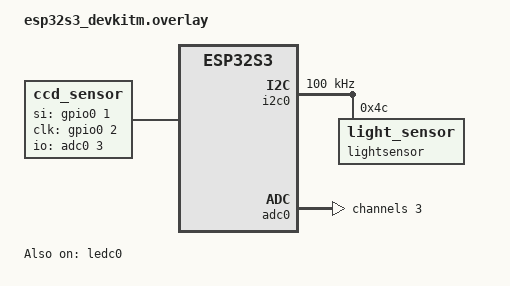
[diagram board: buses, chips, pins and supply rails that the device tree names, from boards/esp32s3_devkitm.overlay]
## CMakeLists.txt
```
# SPDX-License-Identifier: Apache-2.0

cmake_minimum_required(VERSION 3.20.0)

set(CONF_FILE prj.conf)
set(BOARD rpi_pico)
find_package(Zephyr REQUIRED HINTS $ENV{ZEPHYR_BASE})
project(minimal)
MESSAGE(“$ENV{CMAKE_CXXFLAGS}”)
target_sources(app PRIVATE src/main.cpp src/MiniPID.cpp src/Motor.cpp src/Light_sensor.cpp src/CCD_sensor.cpp)
```

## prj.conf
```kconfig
CONFIG_UART_LINE_CTRL=y

CONFIG_GPIO=y
CONFIG_PWM=y
CONFIG_I2C=y
CONFIG_ADC=y
CONFIG_CONSOLE=y
CONFIG_UART_CONSOLE=y
CONFIG_RING_BUFFER=y

CONFIG_CPP=y
CONFIG_REQUIRES_FULL_LIBCPP=y
CONFIG_STD_CPP17=y
CONFIG_CPP_MAIN=y

CONFIG_LOG=y
CONFIG_LOG_MODE_IMMEDIATE=y
CONFIG_LOG_BACKEND_UART=y

# CONFIG_SHELL=y
```

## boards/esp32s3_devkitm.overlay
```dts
#include <zephyr/dt-bindings/pwm/pwm.h>

/ {
    aliases{
        lightsensor = &lightsensor;
    };
    motor_drivers {
        status = "okay";
        motor_0 {
            status = "okay";
            compatible = "encode_motor";
            pwms = <&ledc0 0 50000 PWM_POLARITY_NORMAL>, <&ledc0 1 50000 PWM_POLARITY_NORMAL>;
            pwm-names = "port_0", "port_1";
            gpios = <&gpio0 14 GPIO_ACTIVE_HIGH>, <&gpio0 13 GPIO_ACTIVE_HIGH>;
            label = "motor_0";
        };
        motor_1 {
            status = "okay";
            compatible = "encode_motor";
            pwms = <&ledc0 2 50000 PWM_POLARITY_NORMAL>, <&ledc0 3 50000 PWM_POLARITY_NORMAL>;
            pwm-names = "port_0", "port_1";
            gpios = <&gpio0 11 GPIO_ACTIVE_HIGH>, <&gpio0 12 GPIO_ACTIVE_HIGH>;
            label = "motor_1";
        };
        motor_2 {
            status = "okay";
            compatible = "encode_motor";
            pwms = <&ledc0 4 50000 PWM_POLARITY_NORMAL>, <&ledc0 5 50000 PWM_POLARITY_NORMAL>;
            pwm-names = "port_0", "port_1";
            gpios = <&gpio1 9 GPIO_ACTIVE_HIGH>, <&gpio1 10 GPIO_ACTIVE_HIGH>;
            label = "motor_2";
        };
        motor_3 {
            status = "okay";
            compatible = "encode_motor";
            pwms = <&ledc0 6 50000 PWM_POLARITY_NORMAL>,<&ledc0 7 50000 PWM_POLARITY_NORMAL>;
            pwm-names = "port_0", "port_1";
            gpios = <&gpio1 6 GPIO_ACTIVE_HIGH>, <&gpio1 5 GPIO_ACTIVE_HIGH>;
            label = "motor_3";
        };
    };
    ccd_sensor {
        status = "okay";
        compatible = "ccd_sensor";
        label = "ccd_sensor";
        io-channels = <&adc0 3>;
        si-gpios = <&gpio0 1 GPIO_ACTIVE_HIGH>;
        clk-gpios = <&gpio0 2 GPIO_ACTIVE_HIGH>;
    };
};

&ledc0 {
    status = "okay";
    compatible = "espressif,esp32-ledc";
    pinctrl-0 = <&pwm_motors>;
    pinctrl-names = "default";
    #pwm-cells = <3>;
    #address-cells = <1>;
    #size-cells = <0>;
    channel0@0 {
        reg = <0>;
        timer = <0>;
    };
    channel1@1 {
        reg = <1>;
        timer = <0>;
    };
    channel2@2 {
        reg = <2>;
        timer = <0>;
    };
    channel3@3 {
        reg = <3>;
        timer = <0>;
    };
    channel4@4 {
        reg = <4>;
        timer = <0>;
    };
    channel5@5 {
        reg = <5>;
        timer = <0>;
    };
    channel6@6 {
        reg = <6>;
        timer = <0>;
    };
    channel7@7 {
        reg = <7>;
        timer = <0>;
    };
};

&i2c0 {
    status = "okay";
    pinctrl-0 = <&i2c_sensor>;
    pinctrl-names = "default";
    clock-frequency = <I2C_BITRATE_STANDARD>;
    lightsensor: lightsensor@4c {
            compatible = "light_sensor";
            reg=<0x4c>;
            label="lightsensor";
            status="okay";
    };
};

&pinctrl {
    pwm_motors: pwm_motors{
        group1 {
            pinmux = <LEDC_CH0_GPIO17>,
                    <LEDC_CH1_GPIO18>,
                    <LEDC_CH2_GPIO10>,
                    <LEDC_CH3_GPIO9>,
                    <LEDC_CH4_GPIO48>,
                    <LEDC_CH5_GPIO47>,
                    <LEDC_CH6_GPIO35>,
                    <LEDC_CH7_GPIO36>;
            output-enable;
        };
    };
    i2c_sensor: i2c_sensor{
        group1 {
            pinmux = <I2C0_SCL_GPIO5>,
                     <I2C0_SDA_GPIO6>;
            output-enable;
            bias-pull-up;
        };
    };
};

&adc0 {
    status = "okay";
    #address-cells = <1>;
    #size-cells = <0>;

    channel@3 {
        reg = <3>;
        zephyr,gain = "ADC_GAIN_1_4";
        zephyr,reference = "ADC_REF_INTERNAL";
        zephyr,acquisition-time = <ADC_ACQ_TIME_DEFAULT>;
        zephyr,resolution = <12>;
        // zephyr,oversampling = <>;
        zephyr,vref-mv = <1100>;
    };
};

&adc1 {
    status = "disabled";
};

&spi2 {
    status = "disabled";
};

&spi3 {
    status = "disabled";
};
```

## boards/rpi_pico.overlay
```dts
#include <zephyr/dt-bindings/pinctrl/rpi-pico-rp2040-pinctrl.h>

&zephyr_udc0 {
	cdc_acm_uart0: cdc_acm_uart0 {
		compatible = "zephyr,cdc-acm-uart";
	};
};

/ {
	chosen {
		zephyr,console = &cdc_acm_uart0;
        zephyr,shell-uart = &cdc_acm_uart0;
	};
	aliases{
        lightsensor = &lightsensor;
    };
	motor_drivers {
		status = "okay";
		motor_0 {
			status = "okay";
			compatible = "encode_motor";
			pwms = <&pwm 0 50000 PWM_POLARITY_NORMAL>, <&pwm 1 50000 PWM_POLARITY_NORMAL>;
			pwm-names = "port_0", "port_1";
			gpios = <&gpio0 10 GPIO_ACTIVE_HIGH>, <&gpio0 11 GPIO_ACTIVE_HIGH>;
			label = "motor_0";
		};
		motor_1 {
			status = "okay";
			compatible = "encode_motor";
			pwms = <&pwm 2 50000 PWM_POLARITY_NORMAL>, <&pwm 3 50000 PWM_POLARITY_NORMAL>;
			pwm-names = "port_0", "port_1";
			gpios = <&gpio0 9 GPIO_ACTIVE_HIGH>, <&gpio0 8 GPIO_ACTIVE_HIGH>;
			label = "motor_1";
		};
		motor_2 {
			status = "okay";
			compatible = "encode_motor";
			pwms = <&pwm 4 50000 PWM_POLARITY_NORMAL>, <&pwm 5 50000 PWM_POLARITY_NORMAL>;
			pwm-names = "port_0", "port_1";
			gpios = <&gpio0 14 GPIO_ACTIVE_HIGH>, <&gpio0 15 GPIO_ACTIVE_HIGH>;
			label = "motor_2";
		};
		motor_3 {
			status = "okay";
			compatible = "encode_motor";
			pwms = <&pwm 6 50000 PWM_POLARITY_NORMAL>, <&pwm 7 50000 PWM_POLARITY_NORMAL>;
			pwm-names = "port_0", "port_1";
			gpios = <&gpio0 13 GPIO_ACTIVE_HIGH>, <&gpio0 12 GPIO_ACTIVE_HIGH>;
			label = "motor_3";
		};
	};

    softi2c: softi2c {
        #address-cells=<1>;
        #size-cells=<0>;
        compatible = "gpio-i2c";
        sda-gpios = <&gpio0 18 GPIO_ACTIVE_HIGH>;
        scl-gpios = <&gpio0 19 GPIO_ACTIVE_HIGH>;
        clock-frequency = <100000>;
        status = "okay";
        lightsensor: lightsensor@4c {
            compatible = "light_sensor";
            reg=<0x4c>;
            label="lightsensor";
            status="okay";
        };
    };

	zephyr,user{
		status="okay";
	};
};


&pwm {
	status = "okay";
	pinctrl-0 = <&pwm_motors>;
	pinctrl-names = "default";
};

&i2c0 {
	status = "okay";
	pinctrl-0 = <&i2c_sensor>;
	pinctrl-names = "default";
	clock-frequency = <I2C_BITRATE_STANDARD>;
};


&pinctrl {
	pwm_motors: pwm_motors{
		group1{
			pinmux = <PWM_0A_P0>, <PWM_0B_P1>,
				 <PWM_1A_P2>, <PWM_1B_P3>,
				 <PWM_2A_P4>, <PWM_2B_P5>,
				 <PWM_3A_P6>, <PWM_3B_P7>;
		};
	};
    i2c_sensor: i2c_sensor {
        group1 {
            pinmux = <I2C0_SDA_P20>, <I2C0_SCL_P21>;
            input-enable;
            bias-pull-up;
            slew-rate = <0>;
            input-schmitt-enable;
        };
    };
};
```

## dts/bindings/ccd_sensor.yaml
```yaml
description: ccd_sensor with adcs

compatible: "ccd_sensor"

properties:
  si-gpios:
    type: phandle-array
    required: true
    description: |
      The si channel connected to the ccd sensor.
  clk-gpios:
    type: phandle-array
    required: true
    description: |
      The clk channel connected to the ccd sensor.
  label:
    type: string
    description: |
      A label for the device.
  io-channels:
    type: phandle-array
    required: true
    description: |
      The io channels connected to the ccd sensor analog output.
```

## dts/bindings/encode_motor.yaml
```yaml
description: PWM controlled motor driver

compatible: "encode_motor"

properties:
  pwms:
    type: phandle-array
    required: true
    description: |
      The PWM channels connected to the gate driver for the MOSFET.
  pwm-names:
    type: string-array
    required: true
    description: |
      The names of the PWM channels connected to the gate driver for the MOSFET.
  gpios:
    type: phandle-array
    required: true
    description: |
      The encoder channels connected to the motor.
  label:
    type: string
    description: |
      A label for the motor driver.
```

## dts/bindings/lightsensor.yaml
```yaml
description: Light Sensor On I2C bus

compatible: "light_sensor"

on-bus: i2c

properties:
  reg:
    type: int
    required: true
    description: |
      The I2C address of the light sensor.
  label:
    type: string
    description: |
      A label for the device.
```

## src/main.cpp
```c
#include <stdlib.h>
#include <zephyr/drivers/i2c.h>
#include <zephyr/kernel.h>
#include <zephyr/logging/log.h>
#include <zephyr/sys/ring_buffer.h>

#include "Light_sensor.h"
#include "Motor.h"
#include "MiniPID.h"
#include "CCD_sensor.h"
LOG_MODULE_REGISTER(main, CONFIG_LOG_DEFAULT_LEVEL);
#define I2CSENSOR DT_ALIAS(lightsensor)

extern struct ring_buf sensor_ring_buf;

void controller(void *, void *, void *)
{
    set_speed(0, 0, 0, 0);
    uint8_t analogs_data[8];
    MiniPID follow_pid(20, 0, 0);
    follow_pid.setSetpoint(0);
    follow_pid.setOutputLimits(-2400, 2400);
    while (true)
    {
        if (!ring_buf_is_empty(&sensor_ring_buf))
        {
            uint32_t size = ring_buf_size_get(&sensor_ring_buf) / 8;

            if (size % 8 == 0)
            {
                while (size > 1)
                {
                    ring_buf_get(&sensor_ring_buf, analogs_data, 8);
                    size--;
                }
                ring_buf_get(&sensor_ring_buf, analogs_data, 8);
            }
            else
            {
                ring_buf_reset(&sensor_ring_buf);
            }
        }
        int delta = analogs_data[4] - analogs_data[3];
        LOG_PRINTK("%d,0\n", delta);
        double output = follow_pid.getOutput(delta);
        set_speed(1200 + output, 1200 - output, 1200 + output, 1200 - output);
        k_msleep(10);
    }
}

#define MOTOR_STACK_SIZE 5000
#define MOTOR_PRIORITY -3
K_THREAD_STACK_DEFINE(motor_stack_area, MOTOR_STACK_SIZE);
static k_thread motor_thread_data;

#define SENSOR_STACK_SIZE 15000
#define SENSOR_PRIORITY -1
K_THREAD_STACK_DEFINE(sensor_stack_area, SENSOR_STACK_SIZE);
static k_thread sensor_thread_data;

#define MAIN_STACK_SIZE 5000
#define MAIN_PRIORITY -2
K_THREAD_STACK_DEFINE(main_stack_area, MAIN_STACK_SIZE);
static k_thread main_thread_data;

#define MOTOR0 DT_PATH(motor_drivers, motor_0)
#define MOTOR1 DT_PATH(motor_drivers, motor_1)
#define MOTOR2 DT_PATH(motor_drivers, motor_2)
#define MOTOR3 DT_PATH(motor_drivers, motor_3)

int main(void)
{
    const pwm_dt_spec motor_0_port_0 =
        PWM_DT_SPEC_GET_BY_NAME(MOTOR0, port_0);
    const pwm_dt_spec motor_0_port_1 =
        PWM_DT_SPEC_GET_BY_NAME(MOTOR0, port_1);
    const gpio_dt_spec motor_0_encoder_0 =
        GPIO_DT_SPEC_GET_BY_IDX(MOTOR0, gpios, 0);
    const gpio_dt_spec motor_0_encoder_1 =
        GPIO_DT_SPEC_GET_BY_IDX(MOTOR0, gpios, 1);

    const pwm_dt_spec motor_1_port_0 =
        PWM_DT_SPEC_GET_BY_NAME(MOTOR1, port_0);
    const pwm_dt_spec motor_1_port_1 =
        PWM_DT_SPEC_GET_BY_NAME(MOTOR1, port_1);
    const gpio_dt_spec motor_1_encoder_0 =
        GPIO_DT_SPEC_GET_BY_IDX(MOTOR1, gpios, 0);
    const gpio_dt_spec motor_1_encoder_1 =
        GPIO_DT_SPEC_GET_BY_IDX(MOTOR1, gpios, 1);

    const pwm_dt_spec motor_2_port_0 =
        PWM_DT_SPEC_GET_BY_NAME(MOTOR2, port_0);
    const pwm_dt_spec motor_2_port_1 =
        PWM_DT_SPEC_GET_BY_NAME(MOTOR2, port_1);
    const gpio_dt_spec motor_2_encoder_0 =
        GPIO_DT_SPEC_GET_BY_IDX(MOTOR2, gpios, 0);
    const gpio_dt_spec motor_2_encoder_1 =
        GPIO_DT_SPEC_GET_BY_IDX(MOTOR2, gpios, 1);

    const pwm_dt_spec motor_3_port_0 =
        PWM_DT_SPEC_GET_BY_NAME(MOTOR3, port_0);
    const pwm_dt_spec motor_3_port_1 =
        PWM_DT_SPEC_GET_BY_NAME(MOTOR3, port_1);
    const gpio_dt_spec motor_3_encoder_0 =
        GPIO_DT_SPEC_GET_BY_IDX(MOTOR3, gpios, 0);
    const gpio_dt_spec motor_3_encoder_1 =
        GPIO_DT_SPEC_GET_BY_IDX(MOTOR3, gpios, 1);

    // k_thread_create(&sensor_thread_data, sensor_stack_area,
    //                 K_THREAD_STACK_SIZEOF(sensor_stack_area), sensor_task, NULL,
    //                 NULL, NULL, SENSOR_PRIORITY, 0, K_NO_WAIT);
    // k_thread_create(&motor_thread_data, motor_stack_area,
    //                 K_THREAD_STACK_SIZEOF(motor_stack_area),
    //                 motor_task,
    //                 NULL, NULL, NULL,
    //                 MOTOR_PRIORITY, 0, K_MSEC(10));
    // k_thread_create(&main_thread_data, main_stack_area,
    //                 K_THREAD_STACK_SIZEOF(main_stack_area),
    //                 controller,
    //                 NULL, NULL, NULL,
    //                 MAIN_PRIORITY, 0, K_MSEC(50));
    while (true)
    {
        printk("A encoder : %d, %d; B encoder : %d, %d; C encoder : %d, %d; D encoder : %d, %d\n", gpio_pin_get_dt(&motor_0_encoder_0), gpio_pin_get_dt(&motor_0_encoder_1), gpio_pin_get_dt(&motor_1_encoder_0), gpio_pin_get_dt(&motor_1_encoder_1), gpio_pin_get_dt(&motor_2_encoder_0), gpio_pin_get_dt(&motor_2_encoder_1), gpio_pin_get_dt(&motor_3_encoder_0), gpio_pin_get_dt(&motor_3_encoder_1));
    }
    // Motor motors[4] = {
    //     Motor("motor0", &motor_0_port_0, &motor_0_port_1, &motor_0_encoder_0, &motor_0_encoder_1),
    //     Motor("motor1", &motor_1_port_0, &motor_1_port_1, &motor_1_encoder_0, &motor_1_encoder_1),
    //     Motor("motor2", &motor_2_port_0, &motor_2_port_1, &motor_2_encoder_0, &motor_2_encoder_1),
    //     Motor("motor3", &motor_3_port_0, &motor_3_port_1, &motor_3_encoder_0, &motor_3_encoder_1)};
    // motors[2].speed(20);
    // k_sleep(K_SECONDS(3));
    // motors[2].speed(50);
    // k_sleep(K_SECONDS(3));
    // motors[2].speed(0);
    // motors[3].speed(20);
    // k_sleep(K_SECONDS(3));
    // motors[3].speed(50);
    // k_sleep(K_SECONDS(3));
    // motors[3].speed(0);
    // k_sleep(K_SECONDS(3));
    // while(true){
    //     printk("Motor0 pos: %d, Motor1 pos: %d, Motor2 pos: %d, Motor3 pos: %d\n", motors[0].pos, motors[1].pos, motors[2].pos, motors[3].pos);
    // }
    return 0;
}
```

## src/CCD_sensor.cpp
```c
#include "CCD_sensor.h"
#include <zephyr/kernel.h>
#include <zephyr/logging/log.h>
#include <zephyr/drivers/gpio.h>
#include <zephyr/drivers/adc.h>
#include <zephyr/sys/ring_buffer.h>

#define CCDAO DT_PATH(ccd_sensor)
#define CCD_BUF_BYTES 4
static uint32_t CCD_AO_BUFFER[CCD_BUF_BYTES];
static uint16_t CCD_DATA[129];
LOG_MODULE_REGISTER(CCD, CONFIG_LOG_DEFAULT_LEVEL);

extern void ccd_task(void *, void *, void *){
    const adc_dt_spec ccdao = ADC_DT_SPEC_GET(CCDAO);
    const gpio_dt_spec si_pin = GPIO_DT_SPEC_GET_BY_IDX(CCDAO, si_gpios, 0);
    const gpio_dt_spec clk_pin = GPIO_DT_SPEC_GET_BY_IDX(CCDAO, clk_gpios, 0);
    int ret = adc_channel_setup_dt(&ccdao);
    gpio_pin_configure_dt(&si_pin, GPIO_OUTPUT);
    gpio_pin_configure_dt(&clk_pin, GPIO_OUTPUT);
    if(ret == 0){
        LOG_INF("ADC channel setup success");
    }else{
        LOG_ERR("ADC channel setup failed with code %d", ret);
    }
    LOG_INF("channel_id: %d, oversampling: %d, resulution: %d,acquisition-time: %d ", ccdao.channel_cfg.channel_id, ccdao.oversampling, ccdao.resolution, ccdao.channel_cfg.acquisition_time);
    adc_sequence sequence = {
        .channels = (uint32_t)1<<ccdao.channel_cfg.channel_id,
        .buffer = (void*)CCD_AO_BUFFER,
        .buffer_size = CCD_BUF_BYTES,
        .resolution = ccdao.resolution,
        .oversampling = ccdao.oversampling,
        .calibrate = false,
    };
    gpio_pin_set_dt(&si_pin,1);
    gpio_pin_set_dt(&clk_pin,1);
    gpio_pin_set_dt(&si_pin,0);
    gpio_pin_set_dt(&clk_pin,0);
    for(int i=0;i<128;i++){
        gpio_pin_set_dt(&clk_pin,1);
        gpio_pin_set_dt(&clk_pin,0);
    }
    while(true){
        k_msleep(50);
        gpio_pin_set_dt(&si_pin,1);
        gpio_pin_set_dt(&clk_pin,1);
        gpio_pin_set_dt(&si_pin,0);
        gpio_pin_set_dt(&clk_pin,0);
        for(int i=0;i<128;i++){
            gpio_pin_set_dt(&clk_pin,1);
            k_usleep(2);
            ret = adc_read(ccdao.dev, &sequence);
            gpio_pin_set_dt(&clk_pin,0);
            if(ret==0){
                CCD_DATA[i] = CCD_AO_BUFFER[0];
            }else{
                LOG_ERR("ADC read failed with code %d", ret);
            }
        }
        // print 40-80 data in a line use printk
        for(int i=0;i<128;i++){
            printk("%2d ",(CCD_DATA[i]/64));
        }
        printk("\n");
    }
}

// class CCD_Sensor
// {
// private:
//     const adc_dt_spec* ao_pin;
//     const gpio_dt_spec* clk_pin;
//     const gpio_dt_spec* si_pin;
// public:
//     CCD_Sensor(const adc_channel_cfg *_adc_cfg_dt, const gpio_dt_spec *_clk_pin, const gpio_dt_spec *_si_pin);
//     void init();
// };

// void CCD_Sensor::init()
// {
//     adc_channel_setup(adc_dev, ch0_cfg);
// }
```

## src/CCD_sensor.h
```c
/**
 * @file CCD_sensor.h
 * @author AbbottWu (AbbottDescriber@outlook.com)
 * ~/chinese @brief 线性CCD传感器 tsl1401 驱动
 * @version 0.1
 * @date 2023-07-13
 *
 * @copyright Copyright (c) 2023
 *
 */
#pragma once

void ccd_task(void *, void *, void *);
```

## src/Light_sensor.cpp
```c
#include "Light_sensor.h"
#include <zephyr/logging/log.h>
#include <zephyr/kernel/thread.h>
#include <zephyr/sys/ring_buffer.h>

#define I2CSENSOR DT_ALIAS(lightsensor)
#define LIGHTSENSOR_BUF_BYTES 80
RING_BUF_DECLARE(sensor_ring_buf, LIGHTSENSOR_BUF_BYTES);
LOG_MODULE_REGISTER(sensor, CONFIG_LOG_DEFAULT_LEVEL);

Sensor_Status LightSensor::i2c_ping()
{
    if (i2c_is_ready_dt(lightsensor) == true)
    {
        int rett = i2c_reg_read_byte_dt(lightsensor, 0xAA, &byte_buffer);
        if (rett == 0)
        {
            if (byte_buffer == 0x66)
            {
                return Sensor_OK;
            }
            return Sensor_DATA_ERROR;
        }
        else
        {
            return Sensor_IO_ERR;
        }
    }
    return Sensor_DEVICE_INVALID;
}

Sensor_Status LightSensor::digital_read_to_buffer()
{
    if (i2c_is_ready_dt(lightsensor) == true)
    {
        if (i2c_reg_read_byte_dt(lightsensor, 0xDD, &byte_buffer) == 0)
        {
            return Sensor_OK;
        }
        else
        {
            return Sensor_IO_ERR;
        }
    }
    return Sensor_DEVICE_INVALID;
}

Sensor_Status LightSensor::analogs_read_to_buffer()
{
    if (i2c_is_ready_dt(lightsensor) == true)
    {
        uint32_t size;
        uint32_t proc_size = 8;
        uint8_t *data;

        size = ring_buf_put_claim(&sensor_ring_buf, &data, proc_size);
        if (size != proc_size)
        {
            ring_buf_put_finish(&sensor_ring_buf, 0);
            return Sensor_DATA_ERROR;
        }

        if (i2c_burst_read_dt(lightsensor, 0xB1, data, 8) == 0)
        {
            ring_buf_put_finish(&sensor_ring_buf, 8);
            return Sensor_OK;
        }
        else
        {
            ring_buf_put_finish(&sensor_ring_buf, 0);
            return Sensor_IO_ERR;
        }
    }
    return Sensor_DEVICE_INVALID;
}

// Sensor_Status digital_continous_set(const i2c_dt_spec *i2c, uint8_t *buffer)
// {
//     if (i2c_is_ready_dt(i2c) == true)
//     {
//         buffer[0] = 0xDD;
//         if (i2c_write_dt(i2c, buffer, 1) == 0)
//         {
//             return Sensor_OK;
//         }
//         else
//         {
//             return Sensor_IO_ERR;
//         }
//     }
//     return Sensor_DEVICE_INVALID;
// }

// Sensor_Status digital_continous_read(const i2c_dt_spec *i2c, uint8_t *buffer)
// {
//     if (i2c_is_ready_dt(i2c) == true)
//     {
//         if (i2c_read_dt(i2c, buffer, 1) == 0)
//         {
//             return Sensor_OK;
//         }
//         else
//         {
//             return Sensor_IO_ERR;
//         }
//     }
//     return Sensor_DEVICE_INVALID;
// }

Sensor_Status LightSensor::analogs_continous_set()
{
    if (i2c_is_ready_dt(lightsensor) == true)
    {
        int ret = -5;
        byte_buffer = 0xFF;
        do
        {
            ret = i2c_reg_write_byte_dt(lightsensor, 0xCE, byte_buffer);
            // LOG_INF("ret = %d", ret);
            k_usleep(50);
        } while (ret == -5);
        byte_buffer = 0xB0;
        ret = -5;
        do
        {
            ret = i2c_write_dt(lightsensor, &byte_buffer, 1);
        } while (ret == -5);
        return Sensor_OK;
    }
    return Sensor_DEVICE_INVALID;
}

Sensor_Status LightSensor::analogs_continous_read()
{
    if (i2c_is_ready_dt(lightsensor) == true)
    {
        uint32_t size;
        uint32_t proc_size = 8;
        uint8_t *data;

        size = ring_buf_put_claim(&sensor_ring_buf, &data, proc_size);
        if (size != proc_size)
        {
            ring_buf_put_finish(&sensor_ring_buf, 0);
            return Sensor_DATA_ERROR;
        }

        if (i2c_read_dt(lightsensor, data, 8) == 0)
        {
            int valid = 0;
            for (int i = 0; i < 8; i++)
            {
                if (data[i] != 0xFF)
                {
                    valid = 1;
                    break;
                }
            }
            if (valid == 1)
            {
                ring_buf_put_finish(&sensor_ring_buf, 8);
            }
            else
            {
                ring_buf_put_finish(&sensor_ring_buf, 0);
                return Sensor_DATA_ERROR;
            }
            // check if the data is all 255, which is invalid
            return Sensor_OK;
        }
        else
        {
            ring_buf_put_finish(&sensor_ring_buf, 0);
            return Sensor_IO_ERR;
        }
    }
    return Sensor_DEVICE_INVALID;
}

extern void sensor_task(void *, void *, void *)
{
    const i2c_dt_spec lightsensor = I2C_DT_SPEC_GET(I2CSENSOR);
    LightSensor sensor(&lightsensor);
    // make a ping tile ok
    // int ret = -5;
    // do
    // {
    //     ret = sensor.i2c_ping();
    // } while (ret != Sensor_OK);
    sensor.analogs_continous_set();
    LOG_INF("sensor set analogs ok");
    int failed_times = 0;
    while (true)
    {
        failed_times=0;
        while (true){
            Sensor_Status ret = sensor.analogs_continous_read();
            if (ret != Sensor_OK)
            {
                failed_times++;
                if (failed_times > 500){
                    // sensor.analogs_continous_set();
                    failed_times = 0;
                    k_yield();
                }
            }else{
                break;
                LOG_INF("sensor read analogs ok");
            }
        }
        k_msleep(10);
    }
}




// void sensor_init(void)
// {
//     int ret = -5;
//     do
//     {
//         // k_tid_t timeout_thread_handle = k_thread_create(&timeout_thread_data, timeout_stack_area,
//         //                                           K_THREAD_STACK_SIZEOF(timeout_stack_area),
//         //                                           i2c_ping,
//         //                                           &ret, NULL, NULL,
//         //                                           TIMEOUT_PRIORITY, 0, K_NO_WAIT);
//         // if(k_thread_join(&timeout_thread_data,K_MSEC(15))==-EBUSY){
//         //     k_thread_abort(timeout_thread_handle);
//         //     LOG_ERR("I2C PING TIMEOUT");
//         //     continue;
//         // }
//         i2c_ping(&ret);
//         switch (ret)
//         {
//         case Sensor_OK:
//             LOG_INF("I2C PING OK");
//             break;
//         case Sensor_DEVICE_INVALID:
//             LOG_ERR("I2C DEVICE INVALID");
//             break;
//         case Sensor_IO_ERR:
//             LOG_ERR("I2C IO ERROR");
//             break;
//         case Sensor_DATA_ERROR:
//             LOG_ERR("I2C DATA ERROR");
//             break;
//         }
//     } while (ret != Sensor_OK);
// }
```

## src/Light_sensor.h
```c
/**
 * @file Light_sensor.h
 * @author AbbottWu (AbbottDescriber@outlook.com)
 * \~chinese @brief 感为灰度传感器I2C驱动文件
 * @version 0.1
 * @date 2023-07-13
 *
 * @copyright Copyright (c) 2023
 *
 */
#pragma once
#include <zephyr/kernel.h>
#include <zephyr/drivers/i2c.h>

/**
 * \~chinese @brief 传感器I2C状态
 *
 */
enum Sensor_Status
{
    Sensor_OK,
    Sensor_DEVICE_INVALID,
    Sensor_IO_ERR,
    Sensor_DATA_ERROR
};

/**
 * \~chinese @brief 灰度传感器类
 *
 */
class LightSensor
{
private:
    const i2c_dt_spec *lightsensor;

public:
    /**
     * \~chinese @brief 单字节缓冲区，用于i2c_ping、digital_read_to_buffer、analogs_continous_set
     * 
     */
    uint8_t byte_buffer;
    /**
     * \~chinese @brief 一个用于描述感为8路灰度传感器的类
     *
     * \~chinese @param i2c_sensor 传感器I2C设备树绑定
     */
    LightSensor(const i2c_dt_spec *i2c_sensor) : lightsensor(i2c_sensor){};
    /**
     *\~chinese @brief 灰度传感器状态测试
     *
     * \~chinese @return Sensor_Status 灰度传感器ping状态
     */
    Sensor_Status i2c_ping();
    /**
     * \~chinese @brief 从灰度传感器内部读取8路传感器的数字参量，读取成功则数据被保存到环形缓冲区
     *
     * \~chinese @return Sensor_Status 读取状态
     */
    Sensor_Status digital_read_to_buffer();
    /**
     * \~chinese @brief 从传感器内部读取8个8位模拟量，读取成功则数据被保存到环形缓冲区
     *
     * \~chinese @return Sensor_Status 读取状态
     */
    Sensor_Status analogs_read_to_buffer();
    /**
     * \~chinese @brief 设置传感器连续模拟量读取功能
     *
     * \~chinese @return Sensor_Status 传感器状态
     */
    Sensor_Status analogs_continous_set();
    /**
     * \~chinese @brief 在连续读取功能下读取8个8位模拟量，读取成功则数据被保存到环形缓冲区
     *
     * \~chinese @return Sensor_Status 读取状态
     */
    Sensor_Status analogs_continous_read();
};

/**
 * @brief 灰度传感器线程，在线程初始化过程中绑定设备并启动循环，每10ms尝试读取一次
 *
 */
void sensor_task(void *, void *, void *);
```

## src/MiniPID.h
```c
#ifndef MINIPID_H
#define MINIPID_H

/**
 * \~chinese @brief PID控制算法，对相关注释进行翻译
 * 
 * @see https://github.com/tekdemo/MiniPID
 */
class MiniPID{
public:
	MiniPID(double, double, double);
	MiniPID(double, double, double, double);
	void setP(double);
	void setI(double);
	void setD(double);
	void setF(double);
	void setPID(double, double, double);
	void setPID(double, double, double, double);
	void setMaxIOutput(double);
	void setOutputLimits(double);
	void setOutputLimits(double,double);
	void setDirection(bool);
	void setSetpoint(double);
	void reset();
	void setOutputRampRate(double);
	void setSetpointRange(double);
	void setOutputFilter(double);
	double getOutput();
	double getOutput(double);
	double getOutput(double, double);

private:
	double clamp(double, double, double);
	bool bounded(double, double, double);
	void checkSigns();
	void init();
	double P;
	double I;
	double D;
	double F;

	double maxIOutput;
	double maxError;
	double errorSum;

	double maxOutput; 
	double minOutput;

	double setpoint;

	double lastActual;

	bool firstRun;
	bool reversed;

	double outputRampRate;
	double lastOutput;

	double outputFilter;

	double setpointRange;
};
#endif
```

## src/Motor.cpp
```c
#include "Motor.h"
#include "MiniPID.h"
#include <zephyr/zbus/zbus.h>
#include <zephyr/logging/log.h>
#include <zephyr/kernel/thread.h>
LOG_MODULE_REGISTER(motor, CONFIG_LOG_DEFAULT_LEVEL);

#define MOTOR0 DT_PATH(motor_drivers, motor_0)
#define MOTOR1 DT_PATH(motor_drivers, motor_1)
#define MOTOR2 DT_PATH(motor_drivers, motor_2)
#define MOTOR3 DT_PATH(motor_drivers, motor_3)

ZBUS_CHAN_DEFINE(speed_chan,                         /* Name */
         speed_msg,                                  /* Message type */
         NULL,                                       /* Validator */
         NULL,                                       /* User Data */
         ZBUS_OBSERVERS(speed_sub), /* observers */
         ZBUS_MSG_INIT(.speed0 = 0,.speed1 = 0, .speed2=0,.speed3=0)       /* Initial value */
);
ZBUS_SUBSCRIBER_DEFINE(speed_sub, 4);


Motor::Motor(const char *_name, const pwm_dt_spec *_port_0, const pwm_dt_spec *_port_1, const gpio_dt_spec *_encoder_0, const gpio_dt_spec *_encoder_1)
{
    strcpy(name, _name);
    motor_port_0 = _port_0;
    motor_port_1 = _port_1;
    encoder_0 = _encoder_0;
    encoder_1 = _encoder_1;
    motor_period = _port_0->period;
    gpio_init_callback(&encoder_callbacks[0], encoder0_isr, 1U << encoder_0->pin);
    gpio_init_callback(&encoder_callbacks[1], encoder1_isr, 1U << encoder_1->pin);
    gpio_add_callback_dt(encoder_0, &encoder_callbacks[0]);
    gpio_add_callback_dt(encoder_0, &encoder_callbacks[1]);
    gpio_pin_interrupt_configure_dt(encoder_0, GPIO_INT_EDGE_BOTH);
    gpio_pin_interrupt_configure_dt(encoder_1, GPIO_INT_EDGE_BOTH);
}
void Motor::speed(double duty)
{
    int pulse_width = (int)(duty * motor_period / 100);
    if (duty > 0)
    {
        pwm_set_dt(motor_port_0, motor_period, motor_period - pulse_width);
        pwm_set_dt(motor_port_1, motor_period, motor_period);
    }
    else if (duty < 0)
    {
        pwm_set_dt(motor_port_0, motor_period, motor_period);
        pwm_set_dt(motor_port_1, motor_period, motor_period + pulse_width);
    }
    else
    {
        pwm_set_dt(motor_port_0, motor_period, motor_period);
        pwm_set_dt(motor_port_1, motor_period, motor_period);
    }
}
void Motor::encoder0_isr(const struct device *dev, gpio_callback *cb, gpio_port_pins_t pins)
{
    Motor *instance = CONTAINER_OF(cb, Motor, encoder_callbacks[0]);
    int encoder1_val = gpio_pin_get_dt(instance->encoder_1);
    if (encoder1_val == 1)
    {
        instance->encoder_his[0] = 1;
        if (instance->encoder_his[1] == 1)
        {
            instance->pos -= 1;
        }
        else if (instance->encoder_his[1] == 0)
        {
            instance->pos += 1;
        }
    }
    else if (encoder1_val == 0)
    {
        instance->encoder_his[0] = 0;
        if (instance->encoder_his[1] == 1)
        {
            instance->pos += 1;
        }
        else if (instance->encoder_his[1] == 0)
        {
            instance->pos -= 1;
        }
    }
    // LOG_INF("%s encoder0_isr, POS: %ld", instance->name, instance->pos);
}
void Motor::encoder1_isr(const struct device *dev, gpio_callback *cb, gpio_port_pins_t pins)
{
    Motor *instance = CONTAINER_OF(cb, Motor, encoder_callbacks[1]);
    int encoder0_val = gpio_pin_get_dt(instance->encoder_0);
    if (encoder0_val == 1)
    {
        instance->encoder_his[1] = 1;
        if (instance->encoder_his[0] == 1)
        {
            instance->pos += 1;
        }
        else if (instance->encoder_his[0] == 0)
        {
            instance->pos -= 1;
        }
    }
    else if (encoder0_val == 0)
    {
        instance->encoder_his[1] = 0;
        if (instance->encoder_his[0] == 1)
        {
            instance->pos -= 1;
        }
        else if (instance->encoder_his[0] == 0)
        {
            instance->pos += 1;
        }
    }
}

int disp_pulse = 0;

extern void motor_task(void *, void *, void *)
{
    // 初始化各电机状态PWM驱动及编码器
    const pwm_dt_spec motor_0_port_0 =
        PWM_DT_SPEC_GET_BY_NAME(MOTOR0, port_0);
    const pwm_dt_spec motor_0_port_1 =
        PWM_DT_SPEC_GET_BY_NAME(MOTOR0, port_1);
    const gpio_dt_spec motor_0_encoder_0 =
        GPIO_DT_SPEC_GET_BY_IDX(MOTOR0, gpios, 0);
    const gpio_dt_spec motor_0_encoder_1 =
        GPIO_DT_SPEC_GET_BY_IDX(MOTOR0, gpios, 1);

    const pwm_dt_spec motor_1_port_0 =
        PWM_DT_SPEC_GET_BY_NAME(MOTOR1, port_0);
    const pwm_dt_spec motor_1_port_1 =
        PWM_DT_SPEC_GET_BY_NAME(MOTOR1, port_1);
    const gpio_dt_spec motor_1_encoder_0 =
        GPIO_DT_SPEC_GET_BY_IDX(MOTOR1, gpios, 0);
    const gpio_dt_spec motor_1_encoder_1 =
        GPIO_DT_SPEC_GET_BY_IDX(MOTOR1, gpios, 1);

    const pwm_dt_spec motor_2_port_0 =
        PWM_DT_SPEC_GET_BY_NAME(MOTOR2, port_0);
    const pwm_dt_spec motor_2_port_1 =
        PWM_DT_SPEC_GET_BY_NAME(MOTOR2, port_1);
    const gpio_dt_spec motor_2_encoder_0 =
        GPIO_DT_SPEC_GET_BY_IDX(MOTOR2, gpios, 0);
    const gpio_dt_spec motor_2_encoder_1 =
        GPIO_DT_SPEC_GET_BY_IDX(MOTOR2, gpios, 1);

    const pwm_dt_spec motor_3_port_0 =
        PWM_DT_SPEC_GET_BY_NAME(MOTOR3, port_0);
    const pwm_dt_spec motor_3_port_1 =
        PWM_DT_SPEC_GET_BY_NAME(MOTOR3, port_1);
    const gpio_dt_spec motor_3_encoder_0 =
        GPIO_DT_SPEC_GET_BY_IDX(MOTOR3, gpios, 0);
    const gpio_dt_spec motor_3_encoder_1 =
        GPIO_DT_SPEC_GET_BY_IDX(MOTOR3, gpios, 1);

    // 实例化电机对象
    Motor motors[4] = {
        Motor("motor0", &motor_0_port_0, &motor_0_port_1, &motor_0_encoder_0, &motor_0_encoder_1),
        Motor("motor1", &motor_1_port_0, &motor_1_port_1, &motor_1_encoder_0, &motor_1_encoder_1),
        Motor("motor2", &motor_2_port_0, &motor_2_port_1, &motor_2_encoder_0, &motor_2_encoder_1),
        Motor("motor3", &motor_3_port_0, &motor_3_port_1, &motor_3_encoder_0, &motor_3_encoder_1)};

    // 实例化控制PID对象
    MiniPID pid[4] = {MiniPID(0.0062, 0.001, 0.0001, 100.0 / 20622), MiniPID(0.0062, 0.001, 0.0001, 100.0 / 22738), MiniPID(0.0062, 0.001, 0.0001, 100.0 / 20450), MiniPID(0.0062, 0.001, 0.0001, 100.0 / 21924)};
    // 控制PID输出限幅
    for (int i = 0; i < 4; i++)
    {
        pid[i].setOutputLimits(-100, 100);
    }
    int ms_between_speed_updates = 100; // 两次电机更新间的时间
    int last_pos[4] = {0, 0, 0, 0};     // 上次电机位置
    int pos[4] = {0, 0, 0, 0};          // 本次电机位置
    int target_speed[4] = {0, 0, 0, 0}; // 目标速度
    const struct zbus_channel *chan;
    
    while (true)                        // 主控制循环
    {
        for (int i = 0; i < 4; i++)
        {
            pos[i] = motors[i].pos;     // 从电机对象中读取当前位置
        }
        int ret = zbus_sub_wait(&speed_sub, &chan, K_NO_WAIT);
        if (ret == 0)
        {
            speed_msg data={0};
            if (&speed_chan == chan){
                zbus_chan_read(&speed_chan, &data, K_NO_WAIT);
            }
            // LOG_WRN("New Message Got");
            target_speed[0] = data.speed0;
            target_speed[1] = data.speed1;
            target_speed[2] = data.speed2;
            target_speed[3] = data.speed3;
        }
        int pulse_per_ms[4];
        for (int i = 0; i < 4; i++)
        {
            int delta_pos = pos[i] - last_pos[i];
            last_pos[i] = pos[i];
            int speed = (int)(delta_pos * (1000 / ms_between_speed_updates));
            pulse_per_ms[i] = speed;
            double output = pid[i].getOutput(speed, target_speed[i]);
            motors[i].speed(output);
        }
        if (disp_pulse == 1){
            LOG_PRINTK("<pulse_per_ms>%d:%d,%d,%d,%d</pulse_per_ms>\n", (int)k_uptime_get(),pulse_per_ms[0], pulse_per_ms[1], pulse_per_ms[2], pulse_per_ms[3]);
        }
        // LOG_PRINTK("%d,%d,%d,%d\n", pos[0], pos[1], pos[2], pos[3]);
        k_msleep(ms_between_speed_updates);
    }
}

extern void set_speed(int speed0, int speed1, int speed2, int speed3)
{
    speed_msg msg;
    msg.speed0 = speed0;
    msg.speed1 = speed1;
    msg.speed2 = speed2;
    msg.speed3 = speed3;
    int ret = zbus_chan_pub(&speed_chan, &msg, K_MSEC(100));
    if (ret!=0)
    {
        LOG_ERR("Failed to put message");
    }
}

extern void set_disp_pulse(int disp){
    disp_pulse = disp;
}
```

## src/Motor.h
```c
/**
 * @file Motor.h
 * @author AbbottWu (AbbottDescriber@outlook.com)
 * \~chinese @brief 用于描述内置编码器的减速电机的代码
 * @version 0.1
 * @date 2023-07-13
 *
 * @copyright Copyright (c) 2023
 *
 */
#pragma once
#include <zephyr/drivers/pwm.h>
#include <zephyr/drivers/gpio.h>
#include <zephyr/kernel.h>

/**
 * \~chinese @brief 编码电机类
 *
 */
class Motor
{
private:
    char name[10];
    const pwm_dt_spec *motor_port_0;
    const pwm_dt_spec *motor_port_1;
    const gpio_dt_spec *encoder_0;
    const gpio_dt_spec *encoder_1;
    gpio_callback encoder_callbacks[2];
    int motor_period;
    int encoder_his[2] = {0, 0};
    static void encoder0_isr(const struct device *dev, gpio_callback *cb, gpio_port_pins_t pins);
    static void encoder1_isr(const struct device *dev, gpio_callback *cb, gpio_port_pins_t pins);
    long pos = 0;

public:
    /**
     *  \~chinese @brief 电机角度
     *
     */
    /**
     * \~chinese @brief 电机类的构造函数，绑定电机控制接口（PWM）和电机编码器接口（GPIO）
     *
     * @param _name 电机名称
     * @param _port_0 电机接口0，类型为zephyr的PWM设备树绑定
     * @param _port_1 电机接口1，类型为zephyr的PWM设备树绑定
     * @param _encoder_0 电机编码器0，为zephyr的GPIO设备树绑定
     * @param _encoder_1 电机编码器1，为zephyr的GPIO设备树绑定
     */
    Motor(const char *_name, const pwm_dt_spec *_port_0, const pwm_dt_spec *_port_1, const gpio_dt_spec *_encoder_0, const gpio_dt_spec *_encoder_1);
    /**
     * \~chinese @brief 利用占空比设置电机速度和方向
     *
     * @param duty 电机占空比，0-100，正负代表电机转速
     */
    void speed(double duty);
    friend void motor_task(void *, void *, void *);
};

/**
 * \~chinese @brief 调控电机转速的线程，初始化电机对象，并每10ms一次查阅接收消息队列my_msgq更新速度，如无新速度则保持。
 *
 */
void motor_task(void *, void *, void *);

/**
 * @brief 电机转速设定所用结构体，在消息队列中被传递
 *
 */
struct speed_msg
{
    /**
     * @brief 电机0占空比（正负表方向）
     *
     */
    int speed0;
    /**
     * @brief 电机1占空比（正负表方向）
     *
     */
    int speed1;
    /**
     * @brief 电机2占空比（正负表方向）
     *
     */
    int speed2;
    /**
     * @brief 电机3占空比（正负表方向）
     *
     */
    int speed3;
};

/**
 * \~chinese @brief 通过消息队列my_msgq更新小车四个电机的速度。
 *
 */
void set_speed(int, int, int, int);
void set_disp_pulse(int disp);
```

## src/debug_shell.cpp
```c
#include "Motor.h"
#include <zephyr/kernel.h>
#include <zephyr/shell/shell.h>

static void motor_test_cmd_handler(const struct shell *sh, size_t argc,
                                   char **argv)
{
    ARG_UNUSED(argc);
    ARG_UNUSED(argv);
    ARG_UNUSED(sh);
    set_disp_pulse(1);
    set_speed(0, 0, 0 ,0);
    k_sleep(K_SECONDS(2));
    set_speed(500, 500, 500 ,500);
    k_sleep(K_SECONDS(2));
    set_speed(1000, 1000, 1000 ,1000);
    k_sleep(K_SECONDS(2));
    set_speed(2000, 2000, 2000 ,2000);
    k_sleep(K_SECONDS(2));
    set_speed(0, 0, 0 ,0);
    k_sleep(K_SECONDS(2));
    set_speed(-500, -500, -500 ,-500);
    k_sleep(K_SECONDS(2));
    set_speed(-1000, -1000, -1000 ,-1000);
    k_sleep(K_SECONDS(2));
    set_speed(-2000, -2000, -2000 ,-2000);
    k_sleep(K_SECONDS(2));
    set_speed(0, 0, 0 ,0);
    set_disp_pulse(0);
}

SHELL_CMD_REGISTER(motor_test, NULL, "Motor test", motor_test_cmd_handler);
```

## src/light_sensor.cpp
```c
#include "light_sensor.h"
#include <zephyr/logging/log.h>
#include <zephyr/kernel/thread.h>
#include <zephyr/sys/ring_buffer.h>

#define I2CSENSOR DT_ALIAS(lightsensor)
#define SENSOR_BUF_BYTES 80
RING_BUF_DECLARE(sensor_ring_buf, SENSOR_BUF_BYTES);
LOG_MODULE_REGISTER(sensor, CONFIG_LOG_DEFAULT_LEVEL);

Sensor_Status LightSensor::i2c_ping()
{
    if (i2c_is_ready_dt(lightsensor) == true)
    {
        int rett = i2c_reg_read_byte_dt(lightsensor, 0xAA, &byte_buffer);
        if (rett == 0)
        {
            if (byte_buffer == 0x66)
            {
                return Sensor_OK;
            }
            return Sensor_DATA_ERROR;
        }
        else
        {
            return Sensor_IO_ERR;
        }
    }
    return Sensor_DEVICE_INVALID;
}

Sensor_Status LightSensor::digital_read_to_buffer()
{
    if (i2c_is_ready_dt(lightsensor) == true)
    {
        if (i2c_reg_read_byte_dt(lightsensor, 0xDD, &byte_buffer) == 0)
        {
            return Sensor_OK;
        }
        else
        {
            return Sensor_IO_ERR;
        }
    }
    return Sensor_DEVICE_INVALID;
}

Sensor_Status LightSensor::analogs_read_to_buffer()
{
    if (i2c_is_ready_dt(lightsensor) == true)
    {
        uint32_t size;
        uint32_t proc_size = 8;
        uint8_t *data;

        size = ring_buf_put_claim(&sensor_ring_buf, &data, proc_size);
        if (size != proc_size)
        {
            ring_buf_put_finish(&sensor_ring_buf, 0);
            return Sensor_DATA_ERROR;
        }

        if (i2c_burst_read_dt(lightsensor, 0xB1, data, 8) == 0)
        {
            ring_buf_put_finish(&sensor_ring_buf, 8);
            return Sensor_OK;
        }
        else
        {
            ring_buf_put_finish(&sensor_ring_buf, 0);
            return Sensor_IO_ERR;
        }
    }
    return Sensor_DEVICE_INVALID;
}

// Sensor_Status digital_continous_set(const i2c_dt_spec *i2c, uint8_t *buffer)
// {
//     if (i2c_is_ready_dt(i2c) == true)
//     {
//         buffer[0] = 0xDD;
//         if (i2c_write_dt(i2c, buffer, 1) == 0)
//         {
//             return Sensor_OK;
//         }
//         else
//         {
//             return Sensor_IO_ERR;
//         }
//     }
//     return Sensor_DEVICE_INVALID;
// }

// Sensor_Status digital_continous_read(const i2c_dt_spec *i2c, uint8_t *buffer)
// {
//     if (i2c_is_ready_dt(i2c) == true)
//     {
//         if (i2c_read_dt(i2c, buffer, 1) == 0)
//         {
//             return Sensor_OK;
//         }
//         else
//         {
//             return Sensor_IO_ERR;
//         }
//     }
//     return Sensor_DEVICE_INVALID;
// }

Sensor_Status LightSensor::analogs_continous_set()
{
    if (i2c_is_ready_dt(lightsensor) == true)
    {
        int ret = -5;
        byte_buffer = 0xFF;
        do
        {
            ret = i2c_reg_write_byte_dt(lightsensor, 0xCE, byte_buffer);
            // LOG_INF("ret = %d", ret);
            k_usleep(50);
        } while (ret == -5);
        byte_buffer = 0xB0;
        ret = -5;
        do
        {
            ret = i2c_write_dt(lightsensor, &byte_buffer, 1);
        } while (ret == -5);
        return Sensor_OK;
    }
    return Sensor_DEVICE_INVALID;
}

Sensor_Status LightSensor::analogs_continous_read()
{
    if (i2c_is_ready_dt(lightsensor) == true)
    {
        uint32_t size;
        uint32_t proc_size = 8;
        uint8_t *data;

        size = ring_buf_put_claim(&sensor_ring_buf, &data, proc_size);
        if (size != proc_size)
        {
            ring_buf_put_finish(&sensor_ring_buf, 0);
            return Sensor_DATA_ERROR;
        }

        if (i2c_read_dt(lightsensor, data, 8) == 0)
        {
            int valid = 0;
            for (int i = 0; i < 8; i++)
            {
                if (data[i] != 0xFF)
                {
                    valid = 1;
                    break;
                }
            }
            if (valid == 1)
            {
                ring_buf_put_finish(&sensor_ring_buf, 8);
            }
            else
            {
                ring_buf_put_finish(&sensor_ring_buf, 0);
                return Sensor_DATA_ERROR;
            }
            // check if the data is all 255, which is invalid
            return Sensor_OK;
        }
        else
        {
            ring_buf_put_finish(&sensor_ring_buf, 0);
            return Sensor_IO_ERR;
        }
    }
    return Sensor_DEVICE_INVALID;
}

extern void sensor_task(void *, void *, void *)
{
    const i2c_dt_spec lightsensor = I2C_DT_SPEC_GET(I2CSENSOR);
    LightSensor sensor(&lightsensor);
    // make a ping tile ok
    int ret = -5;
    // do
    // {
    //     ret = sensor.i2c_ping();
    // } while (ret != Sensor_OK);
    sensor.analogs_continous_set();
    LOG_INF("sensor set analogs ok");
    int failed_times = 0;
    while (true)
    {
        failed_times=0;
        while (true){
            Sensor_Status ret = sensor.analogs_continous_read();
            if (ret != Sensor_OK)
            {
                failed_times++;
                if (failed_times > 500){
                    // sensor.analogs_continous_set();
                    failed_times = 0;
                    k_yield();
                }
            }else{
                break;
                LOG_INF("sensor read analogs ok");
            }
        }
        k_msleep(10);
    }
}




// void sensor_init(void)
// {
//     int ret = -5;
//     do
//     {
//         // k_tid_t timeout_thread_handle = k_thread_create(&timeout_thread_data, timeout_stack_area,
//         //                                           K_THREAD_STACK_SIZEOF(timeout_stack_area),
//         //                                           i2c_ping,
//         //                                           &ret, NULL, NULL,
//         //                                           TIMEOUT_PRIORITY, 0, K_NO_WAIT);
//         // if(k_thread_join(&timeout_thread_data,K_MSEC(15))==-EBUSY){
//         //     k_thread_abort(timeout_thread_handle);
//         //     LOG_ERR("I2C PING TIMEOUT");
//         //     continue;
//         // }
//         i2c_ping(&ret);
//         switch (ret)
//         {
//         case Sensor_OK:
//             LOG_INF("I2C PING OK");
//             break;
//         case Sensor_DEVICE_INVALID:
//             LOG_ERR("I2C DEVICE INVALID");
//             break;
//         case Sensor_IO_ERR:
//             LOG_ERR("I2C IO ERROR");
//             break;
//         case Sensor_DATA_ERROR:
//             LOG_ERR("I2C DATA ERROR");
//             break;
//         }
//     } while (ret != Sensor_OK);
// }
```

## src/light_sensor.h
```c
#pragma once
#include <zephyr/kernel.h>
#include <zephyr/drivers/i2c.h>

enum Sensor_Status
{
    Sensor_OK,
    Sensor_DEVICE_INVALID,
    Sensor_IO_ERR,
    Sensor_DATA_ERROR
};

class LightSensor
{
private:
    const i2c_dt_spec *lightsensor;
public:
    uint8_t byte_buffer;
    LightSensor(const i2c_dt_spec *i2c_sensor): lightsensor(i2c_sensor) {};
    Sensor_Status i2c_ping();
    Sensor_Status digital_read_to_buffer();
    Sensor_Status analogs_read_to_buffer();
    // Sensor_Status digital_continous_set();
    // Sensor_Status digital_continous_read();
    Sensor_Status analogs_continous_set();
    Sensor_Status analogs_continous_read();
};

// k_tid_t sensor_task_init(void);
void sensor_task(void*,void*,void*);
```

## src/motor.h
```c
#pragma once
#include <zephyr/drivers/pwm.h>
#include <zephyr/drivers/gpio.h>
#include <zephyr/kernel.h>

// #include <zephyr/device.h>

class Motor
{
private:
    char name[10];
    const pwm_dt_spec *motor_port_0;
    const pwm_dt_spec *motor_port_1;
    const gpio_dt_spec *encoder_0;
    const gpio_dt_spec *encoder_1;
    gpio_callback encoder_callbacks[2];
    int motor_period;
    int encoder_his[2] = {0, 0};

public:
    long pos = 0;
    Motor(const char *_name, const pwm_dt_spec *_port_0, const pwm_dt_spec *_port_1, const gpio_dt_spec *_encoder_0, const gpio_dt_spec *_encoder_1);
    void speed(int duty);
    static void encoder0_isr(const struct device *dev, gpio_callback *cb, gpio_port_pins_t pins);
    static void encoder1_isr(const struct device *dev, gpio_callback *cb, gpio_port_pins_t pins);
};

void motor_task(void *, void *, void *);

struct motor_speed
{
    int speed0;
    int speed1;
    int speed2;
    int speed3;
};

void set_speed(int, int, int, int);
```
